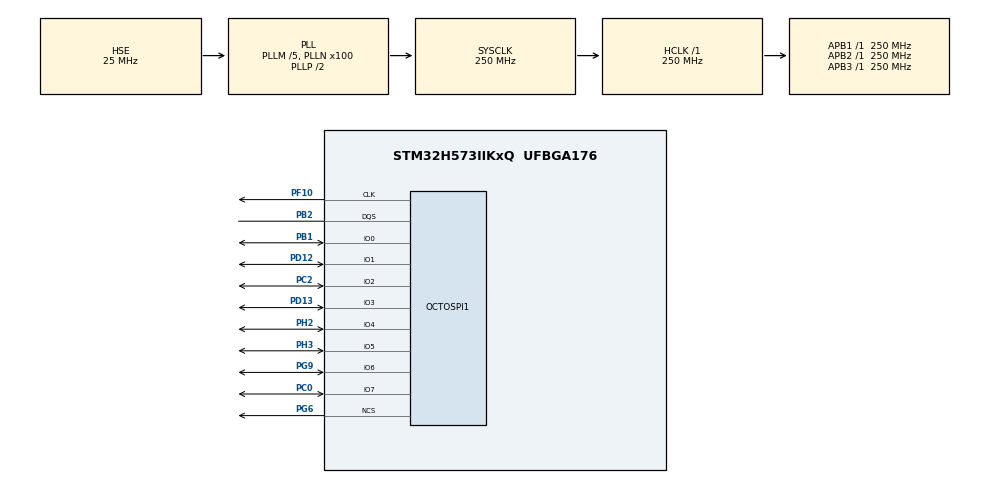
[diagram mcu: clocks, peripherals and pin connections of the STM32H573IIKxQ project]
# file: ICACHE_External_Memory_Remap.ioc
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CORTEX_M33_NS.userName=CORTEX_M33
Mcu.Family=STM32H5
Mcu.Name=STM32H573IIKxQ
Mcu.Package=UFBGA176
NVIC.PriorityGroup=NVIC_PRIORITYGROUP_4
OCTOSPI1.ChipSelectHighTimeCycle=1
OCTOSPI1.ClockMode=HAL_XSPI_CLOCK_MODE_0
OCTOSPI1.ClockPrescaler=2
OCTOSPI1.DelayHoldQuarterCycle=HAL_XSPI_DHQC_ENABLE
OCTOSPI1.FifoThresholdByte=4
OCTOSPI1.MemorySize=HAL_XSPI_SIZE_8MB
OCTOSPI1.MemoryType=HAL_XSPI_MEMTYPE_MACRONIX
OCTOSPI1.WrapSize=HAL_XSPI_WRAP_NOT_SUPPORTED
PB1.GPIO_Speed_High_Default=GPIO_SPEED_FREQ_HIGH
PB1.Mode=octods_mode
PB1.Signal=OCTOSPI1_IO0
PB2.GPIO_Speed_High_Default=GPIO_SPEED_FREQ_HIGH
PB2.Mode=octods_mode
PB2.Signal=OCTOSPI1_DQS
PC0.GPIO_Speed_High_Default=GPIO_SPEED_FREQ_HIGH
PC0.Mode=octods_mode
PC0.Signal=OCTOSPI1_IO7
PC2.GPIO_Speed_High_Default=GPIO_SPEED_FREQ_HIGH
PC2.Mode=octods_mode
PC2.Signal=OCTOSPI1_IO2
PD12.GPIO_Speed_High_Default=GPIO_SPEED_FREQ_HIGH
PD12.Mode=octods_mode
PD12.Signal=OCTOSPI1_IO1
PD13.GPIO_Speed_High_Default=GPIO_SPEED_FREQ_HIGH
PD13.Mode=octods_mode
PD13.Signal=OCTOSPI1_IO3
PF10.GPIO_Speed_High_Default=GPIO_SPEED_FREQ_HIGH
PF10.Mode=octods_mode
PF10.Signal=OCTOSPI1_CLK
PG6.GPIO_Speed_High_Default=GPIO_SPEED_FREQ_HIGH
PG6.Mode=octods_mode
PG6.Signal=OCTOSPI1_NCS
PG9.GPIO_Speed_High_Default=GPIO_SPEED_FREQ_HIGH
PG9.Mode=octods_mode
PG9.Signal=OCTOSPI1_IO6
PH0-OSC_IN(PH0).Mode=HSE-DIG-External-Clock-Source
PH0-OSC_IN(PH0).Signal=RCC_OSC_IN
PH2.GPIO_Speed_High_Default=GPIO_SPEED_FREQ_HIGH
PH2.Mode=octods_mode
PH2.Signal=OCTOSPI1_IO4
PH3.GPIO_Speed_High_Default=GPIO_SPEED_FREQ_HIGH
PH3.Mode=octods_mode
PH3.Signal=OCTOSPI1_IO5
ProjectManager.HeapSize=0x200
ProjectManager.StackSize=0x400
ProjectManager.TargetToolchain=EWARM V9.20
RCC.ADCFreq_Value=250000000
RCC.AHBFreq_Value=250000000
RCC.APB1Freq_Value=250000000
RCC.APB1TimFreq_Value=250000000
RCC.APB2Freq_Value=250000000
RCC.APB2TimFreq_Value=250000000
RCC.APB3Freq_Value=250000000
RCC.CSI_VALUE=4000000
RCC.CortexFreq_Value=250000000
RCC.EPOD_VALUE=25000000
RCC.HCLKFreq_Value=250000000
RCC.HSE_VALUE=25000000
RCC.HSI48_VALUE=48000000
RCC.HSIDiv=RCC_HSI_DIV1
RCC.HSI_VALUE=64000000
RCC.LSE_VALUE=32768
RCC.LSIRC_VALUE=32000
RCC.OCTOSPIMCLockSelection=RCC_OSPICLKSOURCE_PLL2R
RCC.PLL2M=5
RCC.PLL2N=30
RCC.PLL2Source=RCC_PLL2_SOURCE_HSE
RCC.PLL3Source=RCC_PLL3_SOURCE_HSE
RCC.PLLM=5
RCC.PLLN=100
RCC.PLLSourceVirtual=RCC_PLL1_SOURCE_HSE
RCC.SYSCLKFreq_VALUE=250000000
RCC.SYSCLKSource=RCC_SYSCLKSOURCE_PLLCLK
RCC.USBFreq_Value=48000000
RCC.VCOOutputFreq_Value=500000000
VP_ICACHE_VS_ICACHE.Mode=DefaultMode
VP_PWR_VS_SECSignals.Mode=Security/Privilege
VP_PWR_VS_DBSignals.Mode=DisableDeadBatterySignals
VP_PWR_VS_LPOM.Mode=PowerOptimisation
board=custom

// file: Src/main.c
/* USER CODE BEGIN Header */
/**
  ******************************************************************************
  * @file           : ICACHE\ICACHE_External_Memory_Remap\Src\main.c
  * @brief          : Main program body
  ******************************************************************************
  * @attention
  *
  * Copyright (c) 2023 STMicroelectronics.
  * All rights reserved.
  *
  * This software is licensed under terms that can be found in the LICENSE file
  * in the root directory of this software component.
  * If no LICENSE file comes with this software, it is provided AS-IS.
  *
  ******************************************************************************
  */
/* USER CODE END Header */
#include "main.h"

/* USER CODE BEGIN PTD */
/* Function pointer declaration used to call remapped function */
typedef void (*funcptr)(void);

/* USER CODE END PTD */

/* USER CODE BEGIN PD */
#define EXT_MEM_ADDRESS       OCTOSPI1_BASE
#define OSPI_START_OFFSET_ADD      0

/* USER CODE END PD */

/* USER CODE BEGIN PV */
static uint8_t *ext_flash_addr;
static uint32_t ext_flash_size;
static ICACHE_RegionConfigTypeDef region_config;
static funcptr IO_Blink_extFLASH_Remapped;
BSP_OSPI_NOR_Init_t NOR_init;

#if defined(__ARMCC_VERSION)
extern uint32_t Load$$EXTFLASH_REGION$$Base;
extern uint32_t Load$$EXTFLASH_REGION$$Length;
#elif defined(__ICCARM__)
#pragma section =".ext_flash_region"
#pragma section =".ext_flash_region_init"
#elif defined(__GNUC__)
extern uint32_t _extflash_region_init_base;
extern uint32_t _extflash_region_init_length;
#endif

/* USER CODE END PV */

void SystemClock_Config(void);
static void MX_GPIO_Init(void);
static void MX_ICACHE_Init(void);
/* USER CODE BEGIN PFP */
static void IO_Blink_extFLASH(void);

/* USER CODE END PFP */

int main(void)
{

  /* MCU Configuration--------------------------------------------------------*/

  /* Reset of all peripherals, Initializes the Flash interface and the Systick. */
  HAL_Init();

  /* Configure the system clock */
  SystemClock_Config();

  /* Initialize all configured peripherals */
  MX_GPIO_Init();
  MX_ICACHE_Init();
  /* USER CODE BEGIN 2 */

  /* Init OCTOSPI */
  Ospi_Nor_Ctx[0].IsInitialized = OSPI_ACCESS_NONE;
  NOR_init.InterfaceMode = BSP_OSPI_NOR_OPI_MODE;
  NOR_init.TransferRate  = BSP_OSPI_NOR_STR_TRANSFER;
  BSP_OSPI_NOR_Init(0, &NOR_init);

  /* Erase external memory Block (64KByte)*/
  BSP_OSPI_NOR_Erase_Block(0, OSPI_START_OFFSET_ADD, BSP_OSPI_NOR_ERASE_64K);

  BSP_LED_Init(LED_RED);
  BSP_LED_Init(LED_GREEN);

  /* Memory copy from internal Flash to external Flash */
#if defined(__ARMCC_VERSION)
  ext_flash_size = (uint32_t)(&Load$$EXTFLASH_REGION$$Length);
  ext_flash_addr = (uint8_t *)(&Load$$EXTFLASH_REGION$$Base);
#elif defined(__ICCARM__)
  ext_flash_size = __section_size(".ext_flash_region");
  ext_flash_addr = (uint8_t *)(__section_begin(".ext_flash_region_init"));
#elif defined(__GNUC__)
  ext_flash_size = (uint32_t)((uint8_t *)(&_extflash_region_init_length));
  ext_flash_addr = (uint8_t *)(&_extflash_region_init_base);
#endif

  /* Preload external ospi memory with ciphred code into dedicated address*/
  BSP_OSPI_NOR_Write(0, (uint8_t *)ext_flash_addr, OSPI_START_OFFSET_ADD, ext_flash_size);

  /* Activate memory mapping */
  BSP_OSPI_NOR_EnableMemoryMappedMode(0);

  /* Execute function from external flash before remap */
  IO_Blink_extFLASH(); /* Blink the Green Led once, before remapping */

  /* Disable Instruction cache prior to enable the remapped region */
  HAL_ICACHE_Disable();

  /* Remap external flash memory to C-Bus */
  region_config.BaseAddress     = 0x10000000;
  region_config.RemapAddress    = EXT_MEM_ADDRESS;
  region_config.TrafficRoute    = ICACHE_MASTER2_PORT;
  region_config.OutputBurstType = ICACHE_OUTPUT_BURST_INCR;
  region_config.Size            = ICACHE_REGIONSIZE_2MB;

  /* Enable the remapped region */
  if(HAL_ICACHE_EnableRemapRegion(ICACHE_REGION_0, &region_config) != HAL_OK)
  {
    Error_Handler();
  }

  /* Enable the Instruction and Data Cache */
  HAL_ICACHE_Enable();

  /* Set remap Blink function pointer */
  IO_Blink_extFLASH_Remapped = (funcptr)(0x10000001UL);

  /* USER CODE END 2 */

  /* Infinite loop */
  /* USER CODE BEGIN WHILE */
  while (1)
  {
    IO_Blink_extFLASH_Remapped();
    /* USER CODE END WHILE */

  }
}

void SystemClock_Config(void)
{
  RCC_OscInitTypeDef RCC_OscInitStruct = {0};
  RCC_ClkInitTypeDef RCC_ClkInitStruct = {0};

  /** Configure the main internal regulator output voltage
  */
  __HAL_PWR_VOLTAGESCALING_CONFIG(PWR_REGULATOR_VOLTAGE_SCALE0);

  while(!__HAL_PWR_GET_FLAG(PWR_FLAG_VOSRDY)) {}

  /** Initializes the RCC Oscillators according to the specified parameters
  * in the RCC_OscInitTypeDef structure.
  */
  RCC_OscInitStruct.OscillatorType = RCC_OSCILLATORTYPE_HSE;
  RCC_OscInitStruct.HSEState = RCC_HSE_BYPASS_DIGITAL;
  RCC_OscInitStruct.PLL.PLLState = RCC_PLL_ON;
  RCC_OscInitStruct.PLL.PLLSource = RCC_PLL1_SOURCE_HSE;
  RCC_OscInitStruct.PLL.PLLM = 5;
  RCC_OscInitStruct.PLL.PLLN = 100;
  RCC_OscInitStruct.PLL.PLLP = 2;
  RCC_OscInitStruct.PLL.PLLQ = 2;
  RCC_OscInitStruct.PLL.PLLR = 2;
  RCC_OscInitStruct.PLL.PLLRGE = RCC_PLL1_VCIRANGE_2;
  RCC_OscInitStruct.PLL.PLLVCOSEL = RCC_PLL1_VCORANGE_WIDE;
  RCC_OscInitStruct.PLL.PLLFRACN = 0;
  if (HAL_RCC_OscConfig(&RCC_OscInitStruct) != HAL_OK)
  {
    Error_Handler();
  }

  /** Initializes the CPU, AHB and APB buses clocks
  */
  RCC_ClkInitStruct.ClockType = RCC_CLOCKTYPE_HCLK|RCC_CLOCKTYPE_SYSCLK
                              |RCC_CLOCKTYPE_PCLK1|RCC_CLOCKTYPE_PCLK2
                              |RCC_CLOCKTYPE_PCLK3;
  RCC_ClkInitStruct.SYSCLKSource = RCC_SYSCLKSOURCE_PLLCLK;
  RCC_ClkInitStruct.AHBCLKDivider = RCC_SYSCLK_DIV1;
  RCC_ClkInitStruct.APB1CLKDivider = RCC_HCLK_DIV1;
  RCC_ClkInitStruct.APB2CLKDivider = RCC_HCLK_DIV1;
  RCC_ClkInitStruct.APB3CLKDivider = RCC_HCLK_DIV1;

  if (HAL_RCC_ClockConfig(&RCC_ClkInitStruct, FLASH_LATENCY_5) != HAL_OK)
  {
    Error_Handler();
  }

  /** Configure the programming delay
  */
  __HAL_FLASH_SET_PROGRAM_DELAY(FLASH_PROGRAMMING_DELAY_2);
}

static void MX_ICACHE_Init(void)
{

  /** Enable instruction cache (default 2-ways set associative cache)
  */
  if (HAL_ICACHE_Enable() != HAL_OK)
  {
    Error_Handler();
  }

}

static void MX_GPIO_Init(void)
{

  /* GPIO Ports Clock Enable */
  __HAL_RCC_GPIOG_CLK_ENABLE();
  __HAL_RCC_GPIOH_CLK_ENABLE();
  __HAL_RCC_GPIOF_CLK_ENABLE();
  __HAL_RCC_GPIOC_CLK_ENABLE();
  __HAL_RCC_GPIOD_CLK_ENABLE();
  __HAL_RCC_GPIOB_CLK_ENABLE();

}

/* USER CODE BEGIN 4 */
/**
  * @brief  Blinking the Green led function located in external Flash
  * @retval None
  */
#if defined(__ICCARM__)
static void IO_Blink_extFLASH(void) @ ".ext_flash_region"
#elif defined(__ARMCC_VERSION) || defined(__GNUC__)
static void __attribute__((section(".ext_flash_region"), noinline)) IO_Blink_extFLASH(void)
#endif
{
  /* Turn on the Green Led */
  __asm("ldr  r2, =0x42022014          \n"
        "ldr  r1, [r2]                 \n"
        "bic  r1, r1, #0x1 << 9        \n"
        "str  r1, [r2]                 \n"
        );

  /* Delay */
  for(uint32_t i=0;i< 0x1FFFFFU;i++ )
  {
    __asm("nop");
  }

  /* Turn off the Green Led */
  __asm("ldr  r2, =0x42022014          \n"
        "ldr  r1, [r2]                 \n"
        "orr  r1, r1, #0x1 << 9        \n"
        "str  r1, [r2]                 \n"
        );

  /* Delay */
  for(uint32_t i=0;i< 0x1FFFFFU;i++ )
  {
    __asm("nop");
  }
}

/* USER CODE END 4 */

void Error_Handler(void)
{
  /* USER CODE BEGIN Error_Handler_Debug */
  /* User can add his own implementation to report the HAL error return state */
  BSP_LED_On(LED_RED);
  __disable_irq();
  while (1)
  {
  }
  /* USER CODE END Error_Handler_Debug */
}
